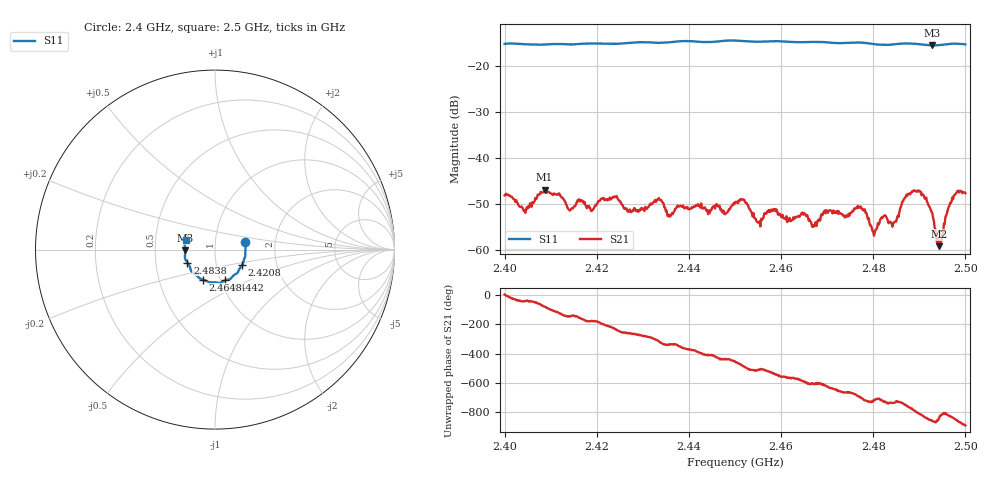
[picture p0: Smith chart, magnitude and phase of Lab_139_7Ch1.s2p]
# Hz S RI R 50
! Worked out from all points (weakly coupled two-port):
!   601 points, 2.4 GHz to 2.5 GHz, reference 50 ohm
!   highest |S21| = -46.97 dB at 2.4087 GHz (marker M1); lowest = -59.2 dB at 2.4943 GHz (marker M2)
!   lowest |S11| = -15.6 dB at 2.4928 GHz (marker M3), VSWR 1.40, Z = 35.8 - j0.363 ohm
!   |S11| at or under -10 dB: start of sweep to end of sweep
!   S12 and S22 are empty: the file has one direction only
!   S11 on the Smith chart (normalised r, x): 2.4 GHz: 1.40, +0.12; 2.4208 GHz: 1.33, -0.24; 2.4442 GHz: 1.05, -0.37; 2.4648 GHz: 0.83, -0.29; 2.4838 GHz: 0.73, -0.11; 2.5 GHz: 0.72, +0.08
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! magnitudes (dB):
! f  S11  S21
! 2.4 GHz  -15.3  -48.2
! 2.4045 GHz  -15.3  -52.0
! 2.4087 GHz  -15.4  -47.0
! 2.4167 GHz  -15.2  -49.3
! 2.4208 GHz  -15.2  -49.1
! 2.4272 GHz  -15.0  -51.3
! 2.4333 GHz  -15.0  -49.1
! 2.4358 GHz  -14.9  -52.8
! 2.4442 GHz  -14.9  -52.3
! 2.45 GHz  -14.5  -49.7
! 2.455 GHz  -14.8  -54.0
! 2.4648 GHz  -14.9  -52.4
! 2.4667 GHz  -14.8  -54.6
! 2.4768 GHz  -15.0  -50.9
! 2.4802 GHz  -15.3  -57.0
! 2.4833 GHz  -15.5  -54.3
! 2.4838 GHz  -15.4  -54.1
! 2.4888 GHz  -15.2  -47.1
! 2.4928 GHz  -15.6  -52.1
! 2.4943 GHz  -15.5  -59.2
! 2.4972 GHz  -15.2  -48.7
! 2.5 GHz  -15.4  -47.7
